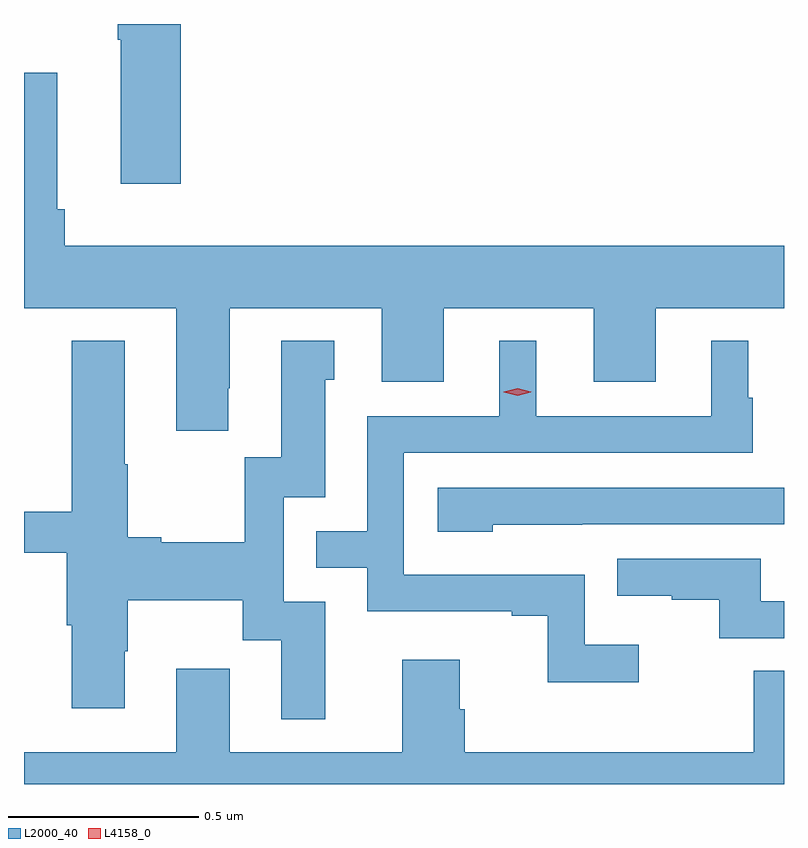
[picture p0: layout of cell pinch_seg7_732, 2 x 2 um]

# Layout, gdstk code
import gdstk
lib = gdstk.Library(unit=1e-6, precision=1e-09)
def P(c, l, *ps):  # polygons
    for p in ps: c.add(gdstk.Polygon(p, *l))
L2000_40 = (2000, 40)
L4158_0 = (4158, 0)

pinch_seg7_732 = lib.new_cell('pinch_seg7_732')
P(pinch_seg7_732, L2000_40, [(251.633,1032),(251.467,1032),(251.467,1031.959),(251.474,1031.959),(251.474,1031.58),(251.633,1031.58)],
  [(251.758,1031.041),(251.761,1031.041),(251.761,1031.252),(252.161,1031.252),(252.161,1031.058),(252.325,1031.058),(252.325,1031.252),(252.719,1031.252),(252.719,1031.058),(252.883,1031.058),(252.883,1031.252),(253.22,1031.252),(253.22,1031.416),(251.327,1031.416),(251.327,1031.512),(251.308,1031.512),(251.308,1031.872),(251.22,1031.872),(251.22,1031.252),(251.621,1031.252),(251.621,1030.929),(251.758,1030.929)],
  [(252.013,1030.479),(251.904,1030.479),(251.904,1030.755),(252.013,1030.755),(252.013,1031.064),(252.037,1031.064),(252.037,1031.167),(251.897,1031.167),(251.897,1030.86),(251.801,1030.86),(251.801,1030.636),(251.581,1030.636),(251.581,1030.649),(251.493,1030.649),(251.493,1030.841),(251.485,1030.841),(251.485,1031.167),(251.345,1031.167),(251.345,1030.717),(251.22,1030.717),(251.22,1030.608),(251.333,1030.608),(251.333,1030.418),(251.345,1030.418),(251.345,1030.2),(251.485,1030.2),(251.485,1030.35),(251.493,1030.35),(251.493,1030.484),(251.796,1030.484),(251.796,1030.378),(251.897,1030.378),(251.897,1030.17),(252.013,1030.17)],
  [(252.838,1030.366),(252.696,1030.366),(252.696,1030.551),(252.219,1030.551),(252.219,1030.872),(253.138,1030.872),(253.138,1031.016),(253.126,1031.016),(253.126,1031.167),(253.028,1031.167),(253.028,1030.968),(252.568,1030.968),(252.568,1031.167),(252.47,1031.167),(252.47,1030.968),(252.123,1030.968),(252.123,1030.665),(251.989,1030.665),(251.989,1030.569),(252.123,1030.569),(252.123,1030.455),(252.503,1030.455),(252.503,1030.443),(252.598,1030.443),(252.598,1030.268),(252.838,1030.268)],
  [(252.453,1030.682),(252.689,1030.682),(252.689,1030.683),(253.22,1030.683),(253.22,1030.779),(252.309,1030.779),(252.309,1030.664),(252.453,1030.664)],
  [(253.22,1030.481),(253.159,1030.481),(253.159,1030.593),(252.781,1030.593),(252.781,1030.496),(252.925,1030.496),(252.925,1030.485),(253.049,1030.485),(253.049,1030.383),(253.22,1030.383)],
  [(253.22,1030.298),(253.14,1030.298),(253.14,1030.084),(252.38,1030.084),(252.38,1030.197),(252.367,1030.197),(252.367,1030.327),(252.215,1030.327),(252.215,1030.084),(251.761,1030.084),(251.761,1030.303),(251.621,1030.303),(251.621,1030.084),(251.22,1030.084),(251.22,1030),(253.22,1030)])
P(pinch_seg7_732, L4158_0, [(252.519,1031.022),(252.483,1031.031),(252.483,1031.032),(252.483,1031.032),(252.519,1031.042),(252.554,1031.032),(252.555,1031.032),(252.554,1031.031)])

lib.write_gds('pinch_seg7_732.gds')
